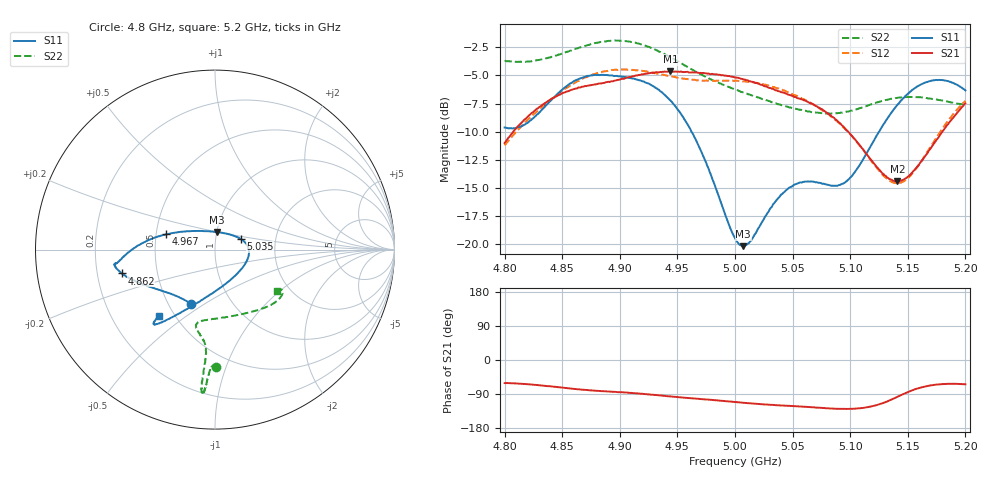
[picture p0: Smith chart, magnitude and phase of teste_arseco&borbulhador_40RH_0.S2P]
! Network Analyzer HP8722D
! Hewlett-Packard
! Data name: Linha & Wilkinson
! Saver's name: Rodrigo Anjos
! Comments: Teste da utilização de aquisição
! continua pelo VNA HP8722D
! Time and date: 15/4/2025 16:21
!  Frequency  S11  S21  S12  S22
# HZ  S  MA R 50
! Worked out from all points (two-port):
!   401 points, 4.8 GHz to 5.2 GHz, reference 50 ohm
!   highest |S21| = -4.64 dB at 4.944 GHz (marker M1); lowest = -14.4 dB at 5.141 GHz (marker M2)
!   |S21| within 3 dB of the highest: 4.832 GHz to 5.069 GHz (236.8 MHz wide, 4.78 % of centre); 5.198536 GHz to end of sweep
!   lowest |S11| = -20.2 dB at 5.007 GHz (marker M3), VSWR 1.22, Z = 50.2 + j9.89 ohm
!   |S11| at or under -10 dB: 4.962 GHz to 5.125 GHz (162.6 MHz wide, 3.22 % of centre)
!   |S22| runs from -8.4 to -1.9 dB; largest |S21 - S12| = 0.88
!   S11 on the Smith chart (normalised r, x): 4.8 GHz: 0.65, -0.44; 4.862 GHz: 0.31, -0.11; 4.967 GHz: 0.57, +0.11; 5.035 GHz: 1.32, +0.16; 5.2 GHz: 0.41, -0.40
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4.8e9  0.3305 -113.7  0.2822 -60.9  0.2753 -175.0  0.6528 -89.5
4.819e9  0.345 -133.6  0.3646 -63.7  0.3526 -173.3  0.6479 -91.1
4.862e9  0.5363 -165.6  0.4924 -76.6  0.5265 -176.5  0.7391 -93.6
4.867e9  0.5488 -167.6  0.5015 -78.2  0.5418 -177.3  0.7527 -93.6
4.901e9  0.5573 -172.1  0.5415 -85.0  0.5985 175.5  0.8021 -95.2
4.934e9  0.4854 -178.1  0.5809 -93.3  0.5733 172.0  0.7181 -95.6
4.944e9  0.4357 177.5  0.5863 -96.1  0.5582 172.0  0.6771 -95.3
4.967e9  0.2845 162.6  0.5797 -102.0  0.5351 174.1  0.5804 -94.8
5e9  0.1065 107.1  0.5503 -111.0  0.5341 176.4  0.4875 -99.1
5.007e9  0.09827 83.4  0.5418 -112.6  0.5293 176.5  0.4731 -100.9
5.014e9  0.1042 61.1  0.528 -114.5  0.5262 176.1  0.46 -102.5
5.035e9  0.155 22.9  0.4834 -119.1  0.4966 175.1  0.4233 -103.8
5.05e9  0.1818 7.0  0.4568 -121.5  0.4647 174.5  0.4028 -100.4
5.067e9  0.1903 -11.2  0.421 -124.7  0.4215 174.0  0.386 -91.9
5.087e9  0.1823 -43.8  0.3596 -128.6  0.3576 173.6  0.3818 -76.9
5.097e9  0.1912 -65.0  0.3209 -129.2  0.3207 174.3  0.3887 -68.6
5.134e9  0.3732 -116.1  0.1953 -106.9  0.192 -159.7  0.4415 -43.4
5.141e9  0.4167 -120.0  0.1906 -97.1  0.1871 -148.7  0.4477 -40.2
5.153e9  0.4814 -124.9  0.2067 -81.1  0.204 -130.1  0.4513 -35.9
5.17e9  0.5326 -128.5  0.2675 -66.8  0.2724 -113.0  0.4441 -32.1
5.184e9  0.5319 -129.9  0.3382 -63.1  0.3489 -107.3  0.4312 -31.0
5.2e9  0.483 -130.4  0.4228 -64.0  0.4338 -106.1  0.4151 -33.4
